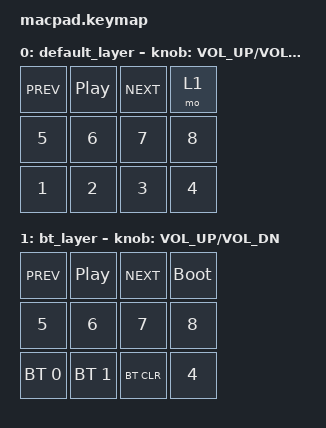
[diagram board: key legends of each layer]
#include <behaviors.dtsi>
#include <dt-bindings/zmk/keys.h>
#include <dt-bindings/zmk/bt.h>

/ {
    keymap {
        compatible = "zmk,keymap";

            default_layer {
    // .........................................
    // |   PREV  |  PAUSE  |   NEXT  |    BT   |
    // |    5    |    6    |    7    |    8    |
    // |    1    |    2    |    3    |    4    |
    
                bindings = <
        &kp C_PREV    &kp C_PLAY_PAUSE    &kp C_NEXT    &mo 1
        &kp N5        &kp N6              &kp N7        &kp N8
        &kp N1        &kp N2              &kp N3        &kp N4
            >;
    
            sensor-bindings = <&inc_dec_kp C_VOL_UP C_VOL_DN>;
        };
    
            bt_layer {
    // .........................................
    // |   PREV  |  PAUSE  |   NEXT  |   MUTE  |
    // |    5    |    6    |    7    |    8    |
    // |    1    |    2    |    3    |    4    |
    
                bindings = <
        &kp C_PREV    &kp C_PLAY_PAUSE    &kp C_NEXT    &bootloader
        &kp N5        &kp N6              &kp N7        &kp N8
        &bt BT_SEL 0  &bt BT_SEL 1        &bt BT_CLR    &kp N4
            >;
    
            sensor-bindings = <&inc_dec_kp C_VOL_UP C_VOL_DN>;
            
        };
    };
};
